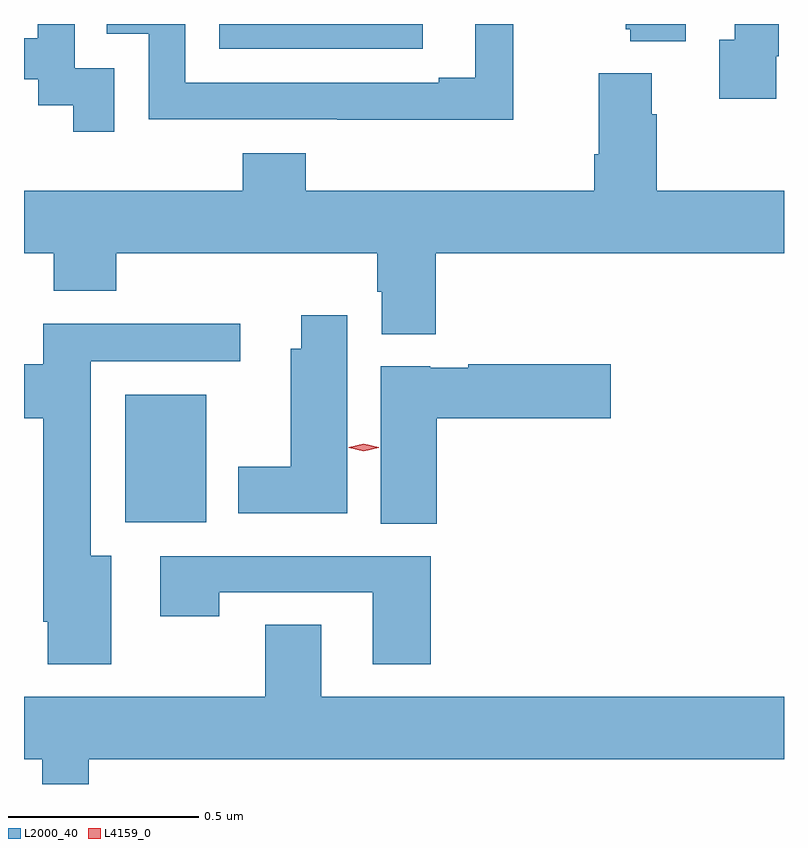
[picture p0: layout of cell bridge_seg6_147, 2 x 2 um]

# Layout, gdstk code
import gdstk
lib = gdstk.Library(unit=1e-6, precision=1e-09)
def R(c, l, rs):  # rectangles x0, y0, x1, y1
    for r in rs: c.add(gdstk.rectangle(r[:2], r[2:], *l))
def P(c, l, *ps):  # polygons
    for p in ps: c.add(gdstk.Polygon(p, *l))
L2000_40 = (2000, 40)
L4159_0 = (4159, 0)

bridge_seg6_147 = lib.new_cell('bridge_seg6_147')
R(bridge_seg6_147, L2000_40, [(561.614,926.648,561.826,926.983), (561.861,927.894,562.396,927.959)])
P(bridge_seg6_147, L2000_40, [(562.635,927.959),(562.535,927.959),(562.535,927.817),(562.439,927.817),(562.439,927.804),(561.771,927.804),(561.771,927.959),(561.565,927.959),(561.565,927.933),(561.675,927.933),(561.675,927.708),(562.171,927.708),(562.171,927.707),(562.635,927.707)],
  [(561.585,927.843),(561.48,927.843),(561.48,927.959),(561.383,927.959),(561.383,927.922),(561.347,927.922),(561.347,927.813),(561.384,927.813),(561.384,927.745),(561.477,927.745),(561.477,927.675),(561.585,927.675)],
  [(563.326,927.874),(563.333,927.874),(563.333,927.959),(563.217,927.959),(563.217,927.918),(563.177,927.918),(563.177,927.762),(563.326,927.762)],
  [(563.089,927.959),(562.931,927.959),(562.931,927.945),(562.943,927.945),(562.943,927.914),(563.089,927.914)],
  [(561.923,927.619),(561.923,927.52),(561.347,927.52),(561.347,927.356),(561.425,927.356),(561.425,927.257),(561.59,927.257),(561.59,927.356),(562.277,927.356),(562.277,927.255),(562.289,927.255),(562.289,927.143),(562.43,927.143),(562.43,927.356),(563.347,927.356),(563.347,927.52),(563.012,927.52),(563.012,927.722),(562.999,927.722),(562.999,927.829),(562.859,927.829),(562.859,927.616),(562.847,927.616),(562.847,927.52),(562.088,927.52),(562.088,927.619)],
  [(562.198,927.193),(562.076,927.193),(562.076,927.105),(562.049,927.105),(562.049,926.794),(561.911,926.794),(561.911,926.672),(562.198,926.672)],
  [(561.577,926.56),(561.523,926.56),(561.523,927.072),(561.916,927.072),(561.916,927.17),(561.398,927.17),(561.398,927.063),(561.347,927.063),(561.347,926.921),(561.398,926.921),(561.398,926.386),(561.41,926.386),(561.41,926.274),(561.577,926.274)],
  [(562.433,926.921),(562.891,926.921),(562.891,927.063),(562.516,927.063),(562.516,927.055),(562.416,927.055),(562.416,927.058),(562.286,927.058),(562.286,926.644),(562.433,926.644)],
  [(562.418,926.559),(561.705,926.559),(561.705,926.4),(561.861,926.4),(561.861,926.463),(562.265,926.463),(562.265,926.274),(562.418,926.274)],
  [(561.517,926.024),(563.347,926.024),(563.347,926.188),(562.129,926.188),(562.129,926.378),(561.982,926.378),(561.982,926.188),(561.347,926.188),(561.347,926.024),(561.395,926.024),(561.395,925.959),(561.517,925.959)])
P(bridge_seg6_147, L4159_0, [(562.241,926.835),(562.201,926.844),(562.201,926.845),(562.201,926.845),(562.241,926.855),(562.281,926.845),(562.281,926.845),(562.281,926.844)])

lib.write_gds('bridge_seg6_147.gds')
